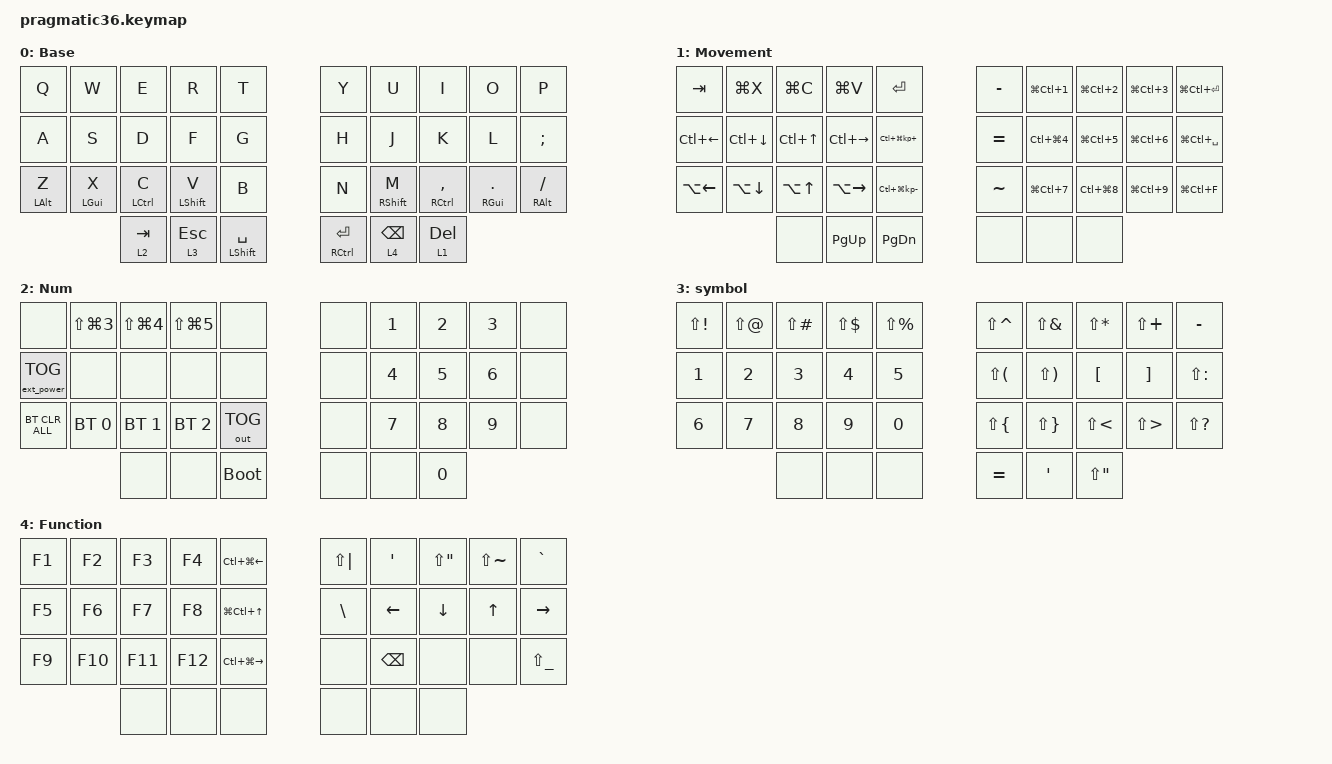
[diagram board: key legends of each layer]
/*
 * Copyright (c) 2023 The ZMK Contributors
 *
 * SPDX-License-Identifier: MIT
 */

#include <behaviors.dtsi>
#include <dt-bindings/zmk/bt.h>
#include <dt-bindings/zmk/ext_power.h>
#include <dt-bindings/zmk/keys.h>
#include <dt-bindings/zmk/outputs.h>

/ {
    keymap {
        compatible = "zmk,keymap";

        base {
            display-name = "Base";
            bindings = <
&kp Q           &kp W           &kp E        &kp R             &kp T                 &kp Y  &kp U              &kp I            &kp O              &kp P
&kp A           &kp S           &kp D        &kp F             &kp G                 &kp H  &kp J              &kp K            &kp L              &kp SEMI
&mt LEFT_ALT Z  &mt LEFT_GUI X  &mt LCTRL C  &mt LEFT_SHIFT V  &kp B                 &kp N  &mt RIGHT_SHIFT M  &mt RCTRL COMMA  &mt RIGHT_GUI DOT  &mt RIGHT_ALT SLASH
                                &lt 2 TAB    &lt 3 ESCAPE      &mt LEFT_SHIFT SPACE                            &mt RCTRL ENTER  &lt 4 BACKSPACE    &lt 1 DELETE
            >;
        };

        movement {
            display-name = "Movement";
            bindings = <
&kp TAB       &kp LG(X)     &kp LG(C)   &kp LG(V)      &kp RET               &kp MINUS  &kp LG(LC(N1))  &kp LG(LC(N2))  &kp LG(LC(N3))  &kp LG(LC(RET))
&kp LC(LEFT)  &kp LC(DOWN)  &kp LC(UP)  &kp LC(RIGHT)  &kp LC(LG(KP_PLUS))   &kp EQUAL  &kp LC(LG(N4))  &kp LG(LC(N5))  &kp LG(LC(N6))  &kp LG(LC(SPACE))
&kp LA(LEFT)  &kp LA(DOWN)  &kp LA(UP)  &kp LA(RIGHT)  &kp LC(LG(KP_MINUS))  &kp TILDE  &kp LG(LC(N7))  &kp LC(LG(N8))  &kp LG(LC(N9))  &kp LG(LC(F))
                            &none       &kp PG_UP      &kp PG_DN                                        &none           &none           &none
            >;
        };

        num {
            display-name = "Num";
            bindings = <
&none              &kp LS(LG(NUMBER_3))  &kp LS(LG(NUMBER_4))  &kp LS(LG(N5))  &none         &none  &kp N1  &kp N2  &kp N3  &none
&ext_power EP_TOG  &none                 &none                 &none           &none         &none  &kp N4  &kp N5  &kp N6  &none
&bt BT_CLR_ALL     &bt BT_SEL 0          &bt BT_SEL 1          &bt BT_SEL 2    &out OUT_TOG  &none  &kp N7  &kp N8  &kp N9  &none
                                         &none                 &none           &bootloader                  &none   &none   &kp N0
            >;
        };

        symbol {
            bindings = <
&kp LS(EXCL)  &kp LS(AT)  &kp LS(POUND)  &kp LS(DLLR)  &kp LS(PRCNT)  &kp LS(CARET)  &kp LS(AMPS)  &kp LS(STAR)  &kp LS(PLUS)  &kp MINUS
&kp N1        &kp N2      &kp N3         &kp N4        &kp N5         &kp LS(LPAR)   &kp LS(RPAR)  &kp LBKT      &kp RBKT      &kp LS(COLON)
&kp N6        &kp N7      &kp N8         &kp N9        &kp N0         &kp LS(LBRC)   &kp LS(RBRC)  &kp LS(LT)    &kp LS(GT)    &kp LS(QMARK)
                          &none          &none         &none                                       &kp EQUAL     &kp SQT       &kp LS(DQT)
            >;
        };

        fn {
            bindings = <
&kp F1  &kp F2   &kp F3   &kp F4   &kp LC(LG(LEFT))      &kp LS(PIPE)  &kp SQT        &kp LS(DQT)  &kp LS(TILDE)  &kp GRAVE
&kp F5  &kp F6   &kp F7   &kp F8   &kp LG(LC(UP_ARROW))  &kp BSLH      &kp LEFT       &kp DOWN     &kp UP         &kp RIGHT
&kp F9  &kp F10  &kp F11  &kp F12  &kp LC(LG(RIGHT))     &none         &kp BACKSPACE  &none        &none          &kp LS(UNDER)
                 &none    &none    &none                                              &none        &none          &none
            >;

            label = "Function";
        };
    };
};
